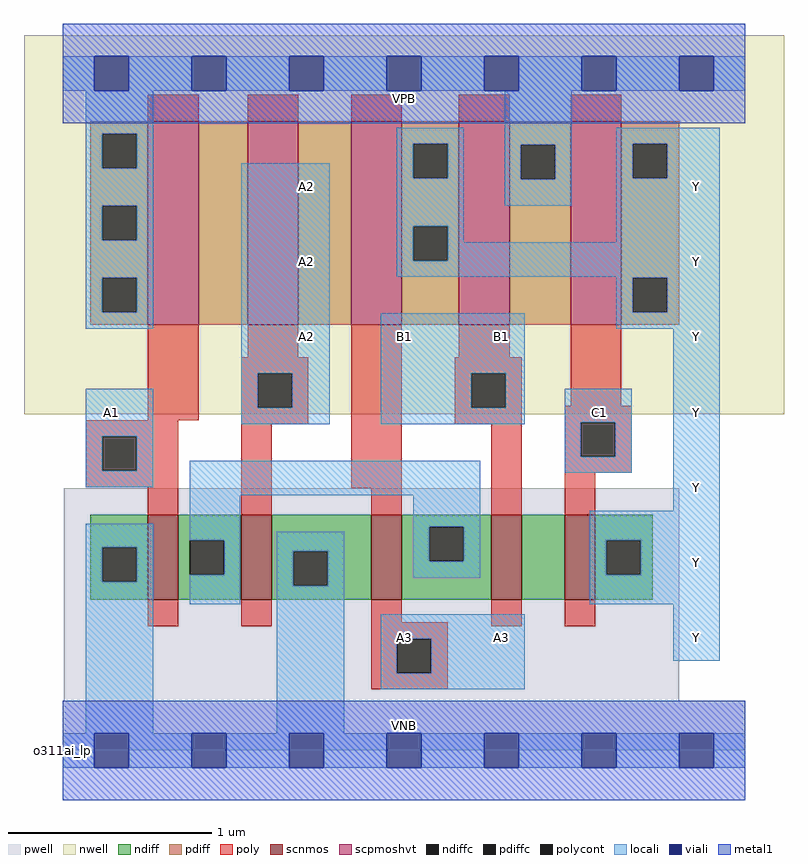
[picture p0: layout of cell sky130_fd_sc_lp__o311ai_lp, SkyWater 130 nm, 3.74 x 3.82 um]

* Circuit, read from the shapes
.subckt sky130_fd_sc_lp__o311ai_lp A1 A2 A3 B1 C1 VGND VNB VPB VPWR Y
XM1 n1 A1 VGND VNB sky130_fd_pr__nfet_01v8 w=0.42 l=0.15
XM2 VGND A2 n1 VNB sky130_fd_pr__nfet_01v8 w=0.42 l=0.15
XM3 n1 A3 VGND VNB sky130_fd_pr__nfet_01v8 w=0.42 l=0.15
XM4 n2 B1 n1 VNB sky130_fd_pr__nfet_01v8 w=0.42 l=0.15
XM5 Y C1 n2 VNB sky130_fd_pr__nfet_01v8 w=0.42 l=0.15
XM6 n3 A1 VPWR VPB sky130_fd_pr__pfet_01v8_hvt w=1 l=0.25
XM7 n4 A2 n3 VPB sky130_fd_pr__pfet_01v8_hvt w=1 l=0.25
XM8 Y A3 n4 VPB sky130_fd_pr__pfet_01v8_hvt w=1 l=0.25
XM9 VPWR B1 Y VPB sky130_fd_pr__pfet_01v8_hvt w=1 l=0.25
XM10 Y C1 VPWR VPB sky130_fd_pr__pfet_01v8_hvt w=1 l=0.25
.ends

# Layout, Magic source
magic
tech sky130A
magscale 1 2
<< nwell >>
rect -38 331 710 704
<< pwell >>
rect 1 49 607 258
rect 0 0 672 49
<< scnmos >>
rect 84 148 114 232
rect 176 148 206 232
rect 304 148 334 232
rect 422 148 452 232
rect 494 148 524 232
<< scpmoshvt >>
rect 84 419 134 619
rect 182 419 232 619
rect 284 419 334 619
rect 390 419 440 619
rect 500 419 550 619
<< ndiff >>
rect 27 200 84 232
rect 27 166 39 200
rect 73 166 84 200
rect 27 148 84 166
rect 114 207 176 232
rect 114 173 125 207
rect 159 173 176 207
rect 114 148 176 173
rect 206 196 304 232
rect 206 162 227 196
rect 261 162 304 196
rect 206 148 304 162
rect 334 220 422 232
rect 334 186 361 220
rect 395 186 422 220
rect 334 148 422 186
rect 452 148 494 232
rect 524 207 581 232
rect 524 173 535 207
rect 569 173 581 207
rect 524 148 581 173
<< pdiff >>
rect 27 607 84 619
rect 27 573 39 607
rect 73 573 84 607
rect 27 536 84 573
rect 27 502 39 536
rect 73 502 84 536
rect 27 465 84 502
rect 27 431 39 465
rect 73 431 84 465
rect 27 419 84 431
rect 134 419 182 619
rect 232 419 284 619
rect 334 597 390 619
rect 334 563 345 597
rect 379 563 390 597
rect 334 516 390 563
rect 334 482 345 516
rect 379 482 390 516
rect 334 419 390 482
rect 440 596 500 619
rect 440 562 451 596
rect 485 562 500 596
rect 440 419 500 562
rect 550 597 607 619
rect 550 563 561 597
rect 595 563 607 597
rect 550 465 607 563
rect 550 431 561 465
rect 595 431 607 465
rect 550 419 607 431
<< ndiffc >>
rect 39 166 73 200
rect 125 173 159 207
rect 227 162 261 196
rect 361 186 395 220
rect 535 173 569 207
<< pdiffc >>
rect 39 573 73 607
rect 39 502 73 536
rect 39 431 73 465
rect 345 563 379 597
rect 345 482 379 516
rect 451 562 485 596
rect 561 563 595 597
rect 561 431 595 465
<< poly >>
rect 84 619 134 645
rect 182 619 232 645
rect 284 619 334 645
rect 390 619 440 645
rect 500 619 550 645
rect 84 325 134 419
rect 182 387 232 419
rect 176 371 242 387
rect 176 337 192 371
rect 226 337 242 371
rect 23 309 114 325
rect 23 275 39 309
rect 73 275 114 309
rect 23 259 114 275
rect 84 232 114 259
rect 176 321 242 337
rect 176 232 206 321
rect 284 258 334 419
rect 390 387 440 419
rect 386 371 452 387
rect 386 337 402 371
rect 436 337 452 371
rect 500 339 550 419
rect 386 321 452 337
rect 304 232 334 258
rect 422 232 452 321
rect 494 323 560 339
rect 494 289 510 323
rect 544 289 560 323
rect 494 273 560 289
rect 494 232 524 273
rect 84 122 114 148
rect 176 122 206 148
rect 304 126 334 148
rect 304 110 379 126
rect 422 122 452 148
rect 494 122 524 148
rect 304 76 329 110
rect 363 76 379 110
rect 304 60 379 76
<< polycont >>
rect 192 337 226 371
rect 39 275 73 309
rect 402 337 436 371
rect 510 289 544 323
rect 329 76 363 110
<< locali >>
rect 0 649 31 683
rect 65 649 127 683
rect 161 649 223 683
rect 257 649 319 683
rect 353 649 415 683
rect 449 649 511 683
rect 545 649 607 683
rect 641 649 672 683
rect 23 607 89 649
rect 23 573 39 607
rect 73 573 89 607
rect 329 597 395 613
rect 23 536 89 573
rect 23 502 39 536
rect 73 502 89 536
rect 23 465 89 502
rect 23 431 39 465
rect 73 431 89 465
rect 23 415 89 431
rect 176 371 263 578
rect 329 563 345 597
rect 379 563 395 597
rect 329 516 395 563
rect 435 596 501 649
rect 435 562 451 596
rect 485 562 501 596
rect 435 536 501 562
rect 545 597 647 613
rect 545 563 561 597
rect 595 563 647 597
rect 329 482 345 516
rect 379 500 395 516
rect 545 500 647 563
rect 379 482 647 500
rect 329 466 647 482
rect 545 465 647 466
rect 545 431 561 465
rect 595 431 647 465
rect 23 309 89 356
rect 176 337 192 371
rect 226 337 263 371
rect 176 321 263 337
rect 313 371 455 430
rect 545 415 647 431
rect 313 337 402 371
rect 436 337 455 371
rect 313 321 455 337
rect 494 323 560 356
rect 23 275 39 309
rect 73 275 89 309
rect 494 289 510 323
rect 544 289 560 323
rect 23 259 89 275
rect 125 251 411 285
rect 494 273 560 289
rect 23 200 89 223
rect 23 166 39 200
rect 73 166 89 200
rect 23 17 89 166
rect 125 207 175 251
rect 345 220 411 251
rect 601 236 647 415
rect 159 173 175 207
rect 125 144 175 173
rect 211 196 277 215
rect 211 162 227 196
rect 261 162 277 196
rect 345 186 361 220
rect 395 186 411 220
rect 345 170 411 186
rect 519 207 647 236
rect 519 173 535 207
rect 569 173 647 207
rect 211 17 277 162
rect 519 144 647 173
rect 313 110 455 134
rect 313 76 329 110
rect 363 76 455 110
rect 601 88 647 144
rect 313 60 455 76
rect 0 -17 31 17
rect 65 -17 127 17
rect 161 -17 223 17
rect 257 -17 319 17
rect 353 -17 415 17
rect 449 -17 511 17
rect 545 -17 607 17
rect 641 -17 672 17
<< viali >>
rect 31 649 65 683
rect 127 649 161 683
rect 223 649 257 683
rect 319 649 353 683
rect 415 649 449 683
rect 511 649 545 683
rect 607 649 641 683
rect 31 -17 65 17
rect 127 -17 161 17
rect 223 -17 257 17
rect 319 -17 353 17
rect 415 -17 449 17
rect 511 -17 545 17
rect 607 -17 641 17
<< metal1 >>
rect 0 683 672 715
rect 0 649 31 683
rect 65 649 127 683
rect 161 649 223 683
rect 257 649 319 683
rect 353 649 415 683
rect 449 649 511 683
rect 545 649 607 683
rect 641 649 672 683
rect 0 617 672 649
rect 0 17 672 49
rect 0 -17 31 17
rect 65 -17 127 17
rect 161 -17 223 17
rect 257 -17 319 17
rect 353 -17 415 17
rect 449 -17 511 17
rect 545 -17 607 17
rect 641 -17 672 17
rect 0 -49 672 -17
<< labels >>
flabel pwell s 0 0 672 49 0 FreeSans 200 0 0 0 VNB
port 7 nsew ground bidirectional
flabel nwell s 0 617 672 666 0 FreeSans 200 0 0 0 VPB
port 8 nsew power bidirectional
rlabel comment s 0 0 0 0 4 o311ai_lp
flabel metal1 s 0 617 672 666 0 FreeSans 340 0 0 0 VPWR
port 9 nsew power bidirectional
flabel metal1 s 0 0 672 49 0 FreeSans 340 0 0 0 VGND
port 6 nsew ground bidirectional
flabel locali s 511 316 545 350 0 FreeSans 340 0 0 0 C1
port 5 nsew signal input
flabel locali s 319 390 353 424 0 FreeSans 340 0 0 0 B1
port 4 nsew signal input
flabel locali s 415 390 449 424 0 FreeSans 340 0 0 0 B1
port 4 nsew signal input
flabel locali s 319 94 353 128 0 FreeSans 340 0 0 0 A3
port 3 nsew signal input
flabel locali s 415 94 449 128 0 FreeSans 340 0 0 0 A3
port 3 nsew signal input
flabel locali s 223 390 257 424 0 FreeSans 340 0 0 0 A2
port 2 nsew signal input
flabel locali s 223 464 257 498 0 FreeSans 340 0 0 0 A2
port 2 nsew signal input
flabel locali s 223 538 257 572 0 FreeSans 340 0 0 0 A2
port 2 nsew signal input
flabel locali s 607 94 641 128 0 FreeSans 340 0 0 0 Y
port 10 nsew signal output
flabel locali s 607 168 641 202 0 FreeSans 340 0 0 0 Y
port 10 nsew signal output
flabel locali s 607 242 641 276 0 FreeSans 340 0 0 0 Y
port 10 nsew signal output
flabel locali s 607 316 641 350 0 FreeSans 340 0 0 0 Y
port 10 nsew signal output
flabel locali s 607 390 641 424 0 FreeSans 340 0 0 0 Y
port 10 nsew signal output
flabel locali s 607 464 641 498 0 FreeSans 340 0 0 0 Y
port 10 nsew signal output
flabel locali s 607 538 641 572 0 FreeSans 340 0 0 0 Y
port 10 nsew signal output
flabel locali s 31 316 65 350 0 FreeSans 340 0 0 0 A1
port 1 nsew signal input
<< properties >>
string LEFsite unit
string LEFclass CORE
string FIXED_BBOX 0 0 672 666
string GDS_FILE $PDKPATH/libs.ref/sky130_fd_sc_lp/gds/sky130_fd_sc_lp.gds
string LEFsymmetry X Y R90
string GDS_END 1465114
string GDS_START 1458154
<< end >>
